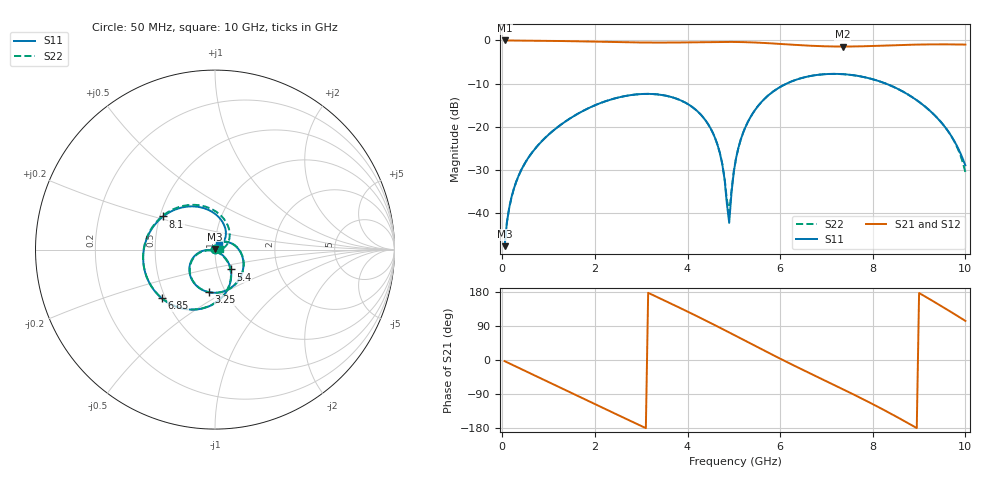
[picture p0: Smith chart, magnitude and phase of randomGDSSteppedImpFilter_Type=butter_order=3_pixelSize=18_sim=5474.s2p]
! freq	dB(S11)	phase(S11)	dB(S12)	phase(S12)
!  dB(S21)	phase(S21)	dB(S22)	phase(S22)
!S-par simulation data
#  GHz  S  DB  R 50
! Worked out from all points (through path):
!   200 points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, 50 MHz to 10 GHz, reference 50 ohm
!   highest |S21| = -0.01 dB at 50 MHz (marker M1); lowest = -1.4 dB at 7.35 GHz (marker M2)
!   group delay of S21, straight-line fit = 169 ps
!   lowest |S11| = -47.6 dB at 50 MHz (marker M3), VSWR 1.01, Z = 50.1 + j0.409 ohm
!   |S11| at or under -10 dB: start of sweep to 6.136 GHz; 8.285 GHz to end of sweep
!   |S22| runs from -47.6 to -7.7 dB; largest |S21 - S12| = 0
!   S11 on the Smith chart (normalised r, x): 50 MHz: 1.00, +0.01; 3.25 GHz: 0.84, -0.42; 5.4 GHz: 1.16, -0.26; 6.85 GHz: 0.48, -0.31; 8.1 GHz: 0.52, +0.22; 10 GHz: 1.05, +0.06
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0.05  -47.59 77.7  -0.01 -3.0  -0.01 -3.0  -47.56 78.2
0.2  -36.21 75.1  -0.02 -11.8  -0.02 -11.8  -36.24 75.3
0.5  -28.20 59.4  -0.05 -29.2  -0.05 -29.2  -28.20 59.8
1.15  -20.44 22.6  -0.12 -67.0  -0.12 -67.0  -20.42 23.2
1.75  -16.27 -12.2  -0.23 -101.9  -0.23 -101.9  -16.27 -11.4
2.55  -13.09 -58.3  -0.40 -148.2  -0.40 -148.2  -13.09 -57.4
3.25  -12.40 -98.1  -0.50 171.5  -0.50 171.5  -12.40 -97.2
3.4  -12.55 -106.6  -0.50 162.9  -0.50 162.9  -12.55 -105.7
4.5  -20.39 -168.6  -0.37 97.6  -0.37 97.6  -20.38 -166.7
4.75  -28.64 -177.1  -0.34 82.1  -0.34 82.1  -28.51 -172.9
4.9  -42.20 -89.5  -0.34 72.7  -0.34 72.7  -39.85 -93.2
5.05  -27.16 -36.0  -0.36 63.2  -0.36 63.2  -27.06 -39.0
5.4  -17.02 -51.6  -0.46 41.1  -0.46 41.1  -17.01 -52.4
6  -10.76 -87.4  -0.81 3.5  -0.81 3.5  -10.76 -87.8
6.7  -8.14 -128.8  -1.25 -38.5  -1.25 -38.5  -8.14 -129.4
6.85  -7.92 -137.6  -1.32 -47.3  -1.32 -47.3  -7.92 -138.3
7.35  -7.80 -166.9  -1.42 -76.8  -1.42 -76.8  -7.81 -168.0
8.1  -9.30 147.4  -1.25 -122.8  -1.25 -122.8  -9.31 144.9
8.35  -10.28 131.4  -1.16 -139.0  -1.16 -139.0  -10.29 128.1
9.15  -15.49 78.2  -0.93 166.2  -0.93 166.2  -15.47 69.6
9.7  -22.19 46.1  -0.92 126.0  -0.92 126.0  -22.22 25.5
10  -28.89 48.7  -0.97 103.2  -0.97 103.2  -30.51 1.2
